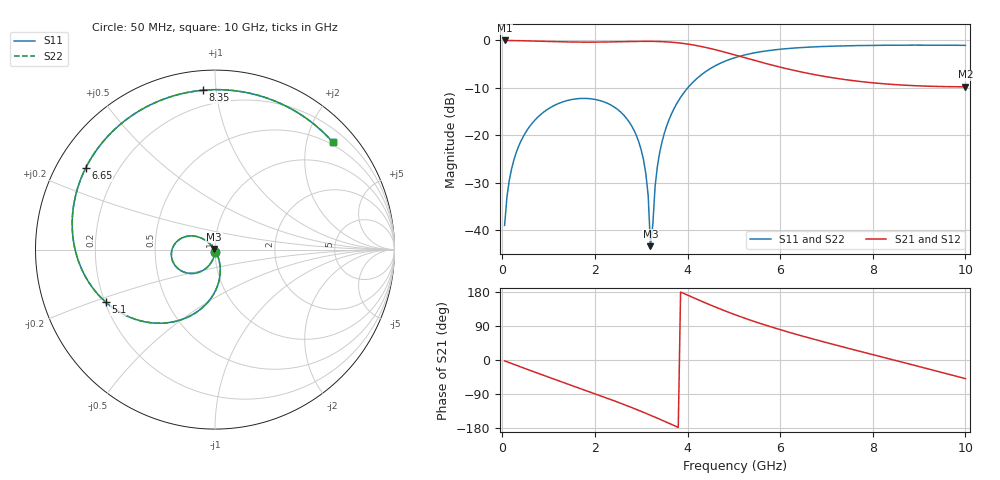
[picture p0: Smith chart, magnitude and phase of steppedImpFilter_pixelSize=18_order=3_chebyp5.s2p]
! freq	dB(S11)	phase(S11)	dB(S12)	phase(S12)
!  dB(S21)	phase(S21)	dB(S22)	phase(S22)
!S-par simulation data
#  GHz  S  DB  R 50
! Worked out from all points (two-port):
!   200 points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, 50 MHz to 10 GHz, reference 50 ohm
!   highest |S21| = 0.00 dB at 50 MHz (marker M1); lowest = -9.8 dB at 10 GHz (marker M2)
!   |S21| within 3 dB of the highest: start of sweep to 5.005 GHz
!   lowest |S11| = -43.3 dB at 3.2 GHz (marker M3), VSWR 1.01, Z = 49.4 + j0.372 ohm
!   |S11| at or under -10 dB: start of sweep to 4.003 GHz
!   |S22| runs from -43.3 to -1.0 dB; largest |S21 - S12| = 0
!   S11 on the Smith chart (normalised r, x): 50 MHz: 1.00, -0.02; 5.1 GHz: 0.20, -0.22; 6.65 GHz: 0.09, +0.29; 8.35 GHz: 0.11, +0.92; 10 GHz: 0.45, +2.51
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0.05  -38.93 -92.2  -0.00 -2.3  -0.00 -2.3  -38.93 -92.2
0.2  -27.06 -99.6  -0.02 -9.2  -0.02 -9.2  -27.06 -99.6
0.5  -19.43 -113.6  -0.08 -22.9  -0.08 -22.9  -19.43 -113.6
1.05  -14.07 -138.3  -0.23 -47.5  -0.23 -47.5  -14.07 -138.3
1.75  -12.20 -168.8  -0.36 -78.1  -0.36 -78.1  -12.20 -168.8
2.4  -13.91 162.6  -0.30 -106.9  -0.30 -106.9  -13.91 162.6
2.85  -19.03 142.0  -0.21 -128.2  -0.21 -128.2  -19.03 141.9
3.1  -28.05 131.9  -0.18 -140.6  -0.18 -140.6  -28.05 131.9
3.15  -32.64 132.0  -0.19 -143.2  -0.19 -143.2  -32.64 131.9
3.2  -43.31 146.6  -0.19 -145.8  -0.19 -145.8  -43.33 146.2
3.3  -30.68 -67.2  -0.20 -151.0  -0.20 -151.0  -30.68 -67.1
3.4  -23.53 -69.6  -0.23 -156.3  -0.23 -156.3  -23.53 -69.5
3.6  -16.69 -79.0  -0.33 -167.0  -0.33 -167.0  -16.69 -79.0
3.95  -10.64 -97.5  -0.69 174.0  -0.69 174.0  -10.64 -97.5
4.5  -5.88 -126.2  -1.71 144.8  -1.71 144.8  -5.88 -126.2
5.05  -3.54 -152.2  -3.13 118.4  -3.13 118.4  -3.54 -152.2
5.1  -3.40 -154.4  -3.26 116.2  -3.26 116.2  -3.40 -154.4
5.85  -2.01 175.5  -5.25 85.6  -5.25 85.6  -2.01 175.5
6.65  -1.39 147.8  -7.02 57.4  -7.02 57.4  -1.39 147.8
6.7  -1.37 146.1  -7.12 55.8  -7.12 55.8  -1.37 146.1
8.35  -1.01 94.3  -9.21 3.2  -9.21 3.2  -1.01 94.3
10  -1.03 42.3  -9.77 -49.1  -9.77 -49.1  -1.03 42.3
